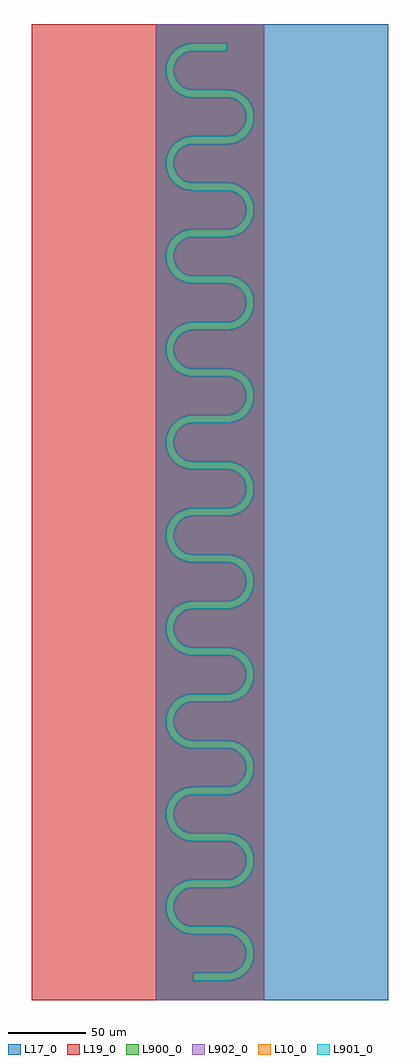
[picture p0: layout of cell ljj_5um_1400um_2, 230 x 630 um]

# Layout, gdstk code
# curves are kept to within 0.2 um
import gdstk
lib = gdstk.Library(unit=1e-6, precision=1e-09)
def R(c, l, rs):  # rectangles x0, y0, x1, y1
    for r in rs: c.add(gdstk.rectangle(r[:2], r[2:], *l))
def P(c, l, *ps):  # polygons
    for p in ps: c.add(gdstk.Polygon(p, *l))
L10_0 = (10, 0)
L17_0 = (17, 0)
L19_0 = (19, 0)
L900_0 = (900, 0)
L901_0 = (901, 0)
L902_0 = (902, 0)

ljj_5um_1400um_2 = lib.new_cell('ljj_5um_1400um_2')
P(ljj_5um_1400um_2, L10_0, [(-10.893,-302.5),(-10.893,-297.5),(11.728,-297.471),(14.993,-296.807),(17.262,-295.754),(20.438,-293.069),(22.557,-289.491),(23.385,-285.417),(22.831,-281.296),(21.427,-278.275),(19.277,-275.73),(16.529,-273.844),(14.195,-272.946),(10.852,-272.5),(-12.062,-272.463),(-16.633,-271.533),(-20.798,-269.429),(-22.633,-267.98),(-24.983,-265.381),(-26.241,-263.411),(-27.609,-260.184),(-28.307,-256.752),(-28.307,-253.248),(-27.609,-249.816),(-26.768,-247.633),(-24.983,-244.619),(-22.633,-242.02),(-18.787,-239.38),(-15.517,-238.12),(-10.934,-237.5),(11.728,-237.471),(14.195,-237.054),(16.529,-236.156),(19.277,-234.27),(21.853,-231.007),(23.218,-227.078),(23.218,-222.922),(22.23,-219.739),(20.438,-216.931),(17.966,-214.695),(14.195,-212.946),(10.852,-212.5),(-12.062,-212.463),(-15.517,-211.88),(-19.812,-210.058),(-22.633,-207.98),(-24.258,-206.299),(-25.645,-204.417),(-27.225,-201.291),(-28.307,-196.752),(-28.307,-193.248),(-27.917,-190.944),(-26.241,-186.589),(-23.473,-182.833),(-20.798,-180.571),(-16.633,-178.467),(-12.062,-177.537),(11.728,-177.471),(14.195,-177.054),(16.529,-176.156),(19.277,-174.27),(21.853,-171.007),(23.218,-167.078),(23.329,-163.75),(22.557,-160.509),(20.955,-157.585),(17.966,-154.695),(14.993,-153.193),(10.852,-152.5),(-12.062,-152.463),(-15.517,-151.88),(-19.812,-150.058),(-23.473,-147.167),(-25.645,-144.417),(-26.768,-142.367),(-27.609,-140.184),(-28.307,-136.752),(-28.15,-132.088),(-26.768,-127.633),(-24.258,-123.701),(-20.798,-120.571),(-16.633,-118.467),(-12.062,-117.537),(11.728,-117.471),(14.993,-116.807),(17.262,-115.754),(19.877,-113.689),(21.853,-111.007),(23.218,-107.078),(23.329,-103.75),(22.557,-100.509),(20.955,-97.585),(17.966,-94.695),(14.993,-93.193),(10.852,-92.5),(-12.062,-92.463),(-15.517,-91.88),(-19.812,-90.058),(-23.473,-87.167),(-26.241,-83.411),(-27.225,-81.291),(-28.15,-77.912),(-28.307,-73.248),(-27.225,-68.709),(-25.645,-65.583),(-22.633,-62.02),(-19.812,-59.942),(-15.517,-58.12),(-12.062,-57.537),(10.852,-57.5),(14.993,-56.807),(17.966,-55.305),(20.955,-52.415),(22.831,-48.704),(23.385,-44.583),(22.831,-41.296),(20.955,-37.585),(17.966,-34.695),(14.993,-33.193),(10.852,-32.5),(-12.062,-32.463),(-15.517,-31.88),(-19.812,-30.058),(-23.473,-27.167),(-26.241,-23.411),(-27.225,-21.291),(-28.15,-17.912),(-28.307,-13.248),(-27.225,-8.709),(-25.645,-5.583),(-22.633,-2.02),(-19.812,0.058),(-15.517,1.88),(-12.062,2.463),(10.852,2.5),(14.993,3.193),(17.966,4.695),(20.955,7.585),(22.831,11.296),(23.385,15.417),(22.831,18.704),(20.955,22.415),(17.966,25.305),(14.993,26.807),(10.852,27.5),(-12.062,27.537),(-15.517,28.12),(-19.812,29.942),(-23.473,32.833),(-26.241,36.589),(-27.225,38.709),(-28.15,42.088),(-28.307,46.752),(-27.225,51.291),(-25.645,54.417),(-22.633,57.98),(-19.812,60.058),(-15.517,61.88),(-12.062,62.463),(10.852,62.5),(14.993,63.193),(17.966,64.695),(20.955,67.585),(22.831,71.296),(23.385,75.417),(22.831,78.704),(20.955,82.415),(17.966,85.305),(14.993,86.807),(10.852,87.5),(-12.062,87.537),(-15.517,88.12),(-19.812,89.942),(-23.473,92.833),(-26.241,96.589),(-27.225,98.709),(-28.15,102.088),(-28.307,106.752),(-27.225,111.291),(-25.645,114.417),(-22.633,117.98),(-19.812,120.058),(-15.517,121.88),(-12.062,122.463),(10.852,122.5),(14.993,123.193),(17.966,124.695),(20.955,127.585),(22.831,131.296),(23.385,135.417),(22.831,138.704),(20.955,142.415),(17.966,145.305),(14.993,146.807),(10.852,147.5),(-12.062,147.537),(-15.517,148.12),(-19.812,149.942),(-23.473,152.833),(-26.241,156.589),(-27.225,158.709),(-28.15,162.088),(-28.307,166.752),(-27.225,171.291),(-25.645,174.417),(-22.633,177.98),(-19.812,180.058),(-15.517,181.88),(-12.062,182.463),(10.852,182.5),(14.993,183.193),(17.966,184.695),(20.955,187.585),(22.831,191.296),(23.385,195.417),(22.831,198.704),(20.955,202.415),(17.966,205.305),(14.993,206.807),(10.852,207.5),(-12.062,207.537),(-15.517,208.12),(-19.812,209.942),(-23.473,212.833),(-26.241,216.589),(-27.917,220.944),(-28.385,225.585),(-27.609,230.184),(-26.241,233.411),(-23.473,237.167),(-19.812,240.058),(-15.517,241.88),(-12.062,242.463),(10.852,242.5),(14.993,243.193),(17.966,244.695),(20.955,247.585),(22.831,251.296),(23.385,255.417),(22.831,258.704),(20.955,262.415),(17.966,265.305),(14.993,266.807),(10.852,267.5),(-12.062,267.537),(-15.517,268.12),(-19.812,269.942),(-23.473,272.833),(-26.241,276.589),(-27.917,280.944),(-28.385,285.585),(-27.609,290.184),(-25.645,294.417),(-22.633,297.98),(-20.798,299.429),(-17.725,301.113),(-15.517,301.88),(-12.062,302.463),(10.893,302.5),(10.893,297.5),(-11.728,297.471),(-14.993,296.807),(-17.262,295.754),(-20.438,293.069),(-22.557,289.491),(-23.385,285.417),(-22.831,281.296),(-21.427,278.275),(-19.277,275.73),(-16.529,273.844),(-14.195,272.946),(-10.852,272.5),(12.062,272.463),(16.633,271.533),(20.798,269.429),(22.633,267.98),(24.983,265.381),(26.241,263.411),(27.609,260.184),(28.307,256.752),(28.307,253.248),(27.609,249.816),(26.768,247.633),(24.983,244.619),(22.633,242.02),(18.787,239.38),(15.517,238.12),(10.934,237.5),(-11.728,237.471),(-14.195,237.054),(-16.529,236.156),(-19.277,234.27),(-21.853,231.007),(-23.218,227.078),(-23.218,222.922),(-22.23,219.739),(-20.438,216.931),(-17.966,214.695),(-14.195,212.946),(-10.852,212.5),(12.062,212.463),(15.517,211.88),(19.812,210.058),(22.633,207.98),(24.258,206.299),(25.645,204.417),(27.225,201.291),(28.307,196.752),(28.307,193.248),(27.917,190.944),(26.241,186.589),(23.473,182.833),(20.798,180.571),(16.633,178.467),(12.062,177.537),(-11.728,177.471),(-14.195,177.054),(-16.529,176.156),(-19.277,174.27),(-21.853,171.007),(-23.218,167.078),(-23.329,163.75),(-22.557,160.509),(-20.955,157.585),(-17.966,154.695),(-14.993,153.193),(-10.852,152.5),(12.062,152.463),(15.517,151.88),(19.812,150.058),(23.473,147.167),(25.645,144.417),(26.768,142.367),(27.609,140.184),(28.307,136.752),(28.15,132.088),(26.768,127.633),(24.258,123.701),(20.798,120.571),(16.633,118.467),(12.062,117.537),(-11.728,117.471),(-14.993,116.807),(-17.262,115.754),(-19.877,113.689),(-21.853,111.007),(-23.218,107.078),(-23.329,103.75),(-22.557,100.509),(-20.955,97.585),(-17.966,94.695),(-14.993,93.193),(-10.852,92.5),(12.062,92.463),(15.517,91.88),(19.812,90.058),(23.473,87.167),(26.241,83.411),(27.225,81.291),(28.15,77.912),(28.307,73.248),(27.225,68.709),(25.645,65.583),(22.633,62.02),(19.812,59.942),(15.517,58.12),(12.062,57.537),(-10.852,57.5),(-14.993,56.807),(-17.966,55.305),(-20.955,52.415),(-22.831,48.704),(-23.385,44.583),(-22.831,41.296),(-20.955,37.585),(-17.966,34.695),(-14.993,33.193),(-10.852,32.5),(12.062,32.463),(15.517,31.88),(19.812,30.058),(23.473,27.167),(26.241,23.411),(27.225,21.291),(28.15,17.912),(28.307,13.248),(27.225,8.709),(25.645,5.583),(22.633,2.02),(19.812,-0.058),(15.517,-1.88),(12.062,-2.463),(-10.852,-2.5),(-14.993,-3.193),(-17.966,-4.695),(-20.955,-7.585),(-22.831,-11.296),(-23.385,-15.417),(-22.831,-18.704),(-20.955,-22.415),(-17.966,-25.305),(-14.993,-26.807),(-10.852,-27.5),(12.062,-27.537),(15.517,-28.12),(19.812,-29.942),(23.473,-32.833),(26.241,-36.589),(27.225,-38.709),(28.15,-42.088),(28.307,-46.752),(27.225,-51.291),(25.645,-54.417),(22.633,-57.98),(19.812,-60.058),(15.517,-61.88),(12.062,-62.463),(-10.852,-62.5),(-14.993,-63.193),(-17.966,-64.695),(-20.955,-67.585),(-22.831,-71.296),(-23.385,-75.417),(-22.831,-78.704),(-20.955,-82.415),(-17.966,-85.305),(-14.993,-86.807),(-10.852,-87.5),(12.062,-87.537),(15.517,-88.12),(19.812,-89.942),(23.473,-92.833),(26.241,-96.589),(27.225,-98.709),(28.15,-102.088),(28.307,-106.752),(27.225,-111.291),(25.645,-114.417),(22.633,-117.98),(19.812,-120.058),(15.517,-121.88),(12.062,-122.463),(-10.852,-122.5),(-14.993,-123.193),(-17.966,-124.695),(-20.955,-127.585),(-22.831,-131.296),(-23.385,-135.417),(-22.831,-138.704),(-20.955,-142.415),(-17.966,-145.305),(-14.993,-146.807),(-10.852,-147.5),(12.062,-147.537),(15.517,-148.12),(19.812,-149.942),(23.473,-152.833),(26.241,-156.589),(27.225,-158.709),(28.15,-162.088),(28.307,-166.752),(27.225,-171.291),(25.645,-174.417),(22.633,-177.98),(19.812,-180.058),(15.517,-181.88),(12.062,-182.463),(-10.852,-182.5),(-14.993,-183.193),(-17.966,-184.695),(-20.955,-187.585),(-22.831,-191.296),(-23.385,-195.417),(-22.831,-198.704),(-20.955,-202.415),(-17.966,-205.305),(-14.993,-206.807),(-10.852,-207.5),(12.062,-207.537),(15.517,-208.12),(19.812,-209.942),(23.473,-212.833),(26.241,-216.589),(27.917,-220.944),(28.385,-225.585),(27.609,-230.184),(26.241,-233.411),(23.473,-237.167),(19.812,-240.058),(15.517,-241.88),(12.062,-242.463),(-10.852,-242.5),(-14.993,-243.193),(-17.966,-244.695),(-20.955,-247.585),(-22.831,-251.296),(-23.385,-255.417),(-22.831,-258.704),(-20.955,-262.415),(-17.966,-265.305),(-14.993,-266.807),(-10.852,-267.5),(12.062,-267.537),(15.517,-268.12),(19.812,-269.942),(23.473,-272.833),(26.241,-276.589),(27.917,-280.944),(28.385,-285.585),(27.609,-290.184),(25.645,-294.417),(22.633,-297.98),(20.798,-299.429),(17.725,-301.113),(15.517,-301.88),(12.062,-302.463)])
R(ljj_5um_1400um_2, L17_0, [(-35,-315,115,315)])
R(ljj_5um_1400um_2, L19_0, [(-115,-315,35,315)])
R(ljj_5um_1400um_2, L900_0, [(-35,-315,35,315)])
P(ljj_5um_1400um_2, L901_0, [(-10.893,-302.5),(-10.893,-297.5),(11.728,-297.471),(14.993,-296.807),(17.262,-295.754),(20.438,-293.069),(22.557,-289.491),(23.385,-285.417),(22.831,-281.296),(21.427,-278.275),(19.277,-275.73),(16.529,-273.844),(14.195,-272.946),(10.852,-272.5),(-12.062,-272.463),(-16.633,-271.533),(-20.798,-269.429),(-22.633,-267.98),(-24.983,-265.381),(-26.241,-263.411),(-27.609,-260.184),(-28.307,-256.752),(-28.307,-253.248),(-27.609,-249.816),(-26.768,-247.633),(-24.983,-244.619),(-22.633,-242.02),(-18.787,-239.38),(-15.517,-238.12),(-10.934,-237.5),(11.728,-237.471),(14.195,-237.054),(16.529,-236.156),(19.277,-234.27),(21.853,-231.007),(23.218,-227.078),(23.218,-222.922),(22.23,-219.739),(20.438,-216.931),(17.966,-214.695),(14.195,-212.946),(10.852,-212.5),(-12.062,-212.463),(-15.517,-211.88),(-19.812,-210.058),(-22.633,-207.98),(-24.258,-206.299),(-25.645,-204.417),(-27.225,-201.291),(-28.307,-196.752),(-28.307,-193.248),(-27.917,-190.944),(-26.241,-186.589),(-23.473,-182.833),(-20.798,-180.571),(-16.633,-178.467),(-12.062,-177.537),(11.728,-177.471),(14.195,-177.054),(16.529,-176.156),(19.277,-174.27),(21.853,-171.007),(23.218,-167.078),(23.329,-163.75),(22.557,-160.509),(20.955,-157.585),(17.966,-154.695),(14.993,-153.193),(10.852,-152.5),(-12.062,-152.463),(-15.517,-151.88),(-19.812,-150.058),(-23.473,-147.167),(-25.645,-144.417),(-26.768,-142.367),(-27.609,-140.184),(-28.307,-136.752),(-28.15,-132.088),(-26.768,-127.633),(-24.258,-123.701),(-20.798,-120.571),(-16.633,-118.467),(-12.062,-117.537),(11.728,-117.471),(14.993,-116.807),(17.262,-115.754),(19.877,-113.689),(21.853,-111.007),(23.218,-107.078),(23.329,-103.75),(22.557,-100.509),(20.955,-97.585),(17.966,-94.695),(14.993,-93.193),(10.852,-92.5),(-12.062,-92.463),(-15.517,-91.88),(-19.812,-90.058),(-23.473,-87.167),(-26.241,-83.411),(-27.225,-81.291),(-28.15,-77.912),(-28.307,-73.248),(-27.225,-68.709),(-25.645,-65.583),(-22.633,-62.02),(-19.812,-59.942),(-15.517,-58.12),(-12.062,-57.537),(10.852,-57.5),(14.993,-56.807),(17.966,-55.305),(20.955,-52.415),(22.831,-48.704),(23.385,-44.583),(22.831,-41.296),(20.955,-37.585),(17.966,-34.695),(14.993,-33.193),(10.852,-32.5),(-12.062,-32.463),(-15.517,-31.88),(-19.812,-30.058),(-23.473,-27.167),(-26.241,-23.411),(-27.225,-21.291),(-28.15,-17.912),(-28.307,-13.248),(-27.225,-8.709),(-25.645,-5.583),(-22.633,-2.02),(-19.812,0.058),(-15.517,1.88),(-12.062,2.463),(10.852,2.5),(14.993,3.193),(17.966,4.695),(20.955,7.585),(22.831,11.296),(23.385,15.417),(22.831,18.704),(20.955,22.415),(17.966,25.305),(14.993,26.807),(10.852,27.5),(-12.062,27.537),(-15.517,28.12),(-19.812,29.942),(-23.473,32.833),(-26.241,36.589),(-27.225,38.709),(-28.15,42.088),(-28.307,46.752),(-27.225,51.291),(-25.645,54.417),(-22.633,57.98),(-19.812,60.058),(-15.517,61.88),(-12.062,62.463),(10.852,62.5),(14.993,63.193),(17.966,64.695),(20.955,67.585),(22.831,71.296),(23.385,75.417),(22.831,78.704),(20.955,82.415),(17.966,85.305),(14.993,86.807),(10.852,87.5),(-12.062,87.537),(-15.517,88.12),(-19.812,89.942),(-23.473,92.833),(-26.241,96.589),(-27.225,98.709),(-28.15,102.088),(-28.307,106.752),(-27.225,111.291),(-25.645,114.417),(-22.633,117.98),(-19.812,120.058),(-15.517,121.88),(-12.062,122.463),(10.852,122.5),(14.993,123.193),(17.966,124.695),(20.955,127.585),(22.831,131.296),(23.385,135.417),(22.831,138.704),(20.955,142.415),(17.966,145.305),(14.993,146.807),(10.852,147.5),(-12.062,147.537),(-15.517,148.12),(-19.812,149.942),(-23.473,152.833),(-26.241,156.589),(-27.225,158.709),(-28.15,162.088),(-28.307,166.752),(-27.225,171.291),(-25.645,174.417),(-22.633,177.98),(-19.812,180.058),(-15.517,181.88),(-12.062,182.463),(10.852,182.5),(14.993,183.193),(17.966,184.695),(20.955,187.585),(22.831,191.296),(23.385,195.417),(22.831,198.704),(20.955,202.415),(17.966,205.305),(14.993,206.807),(10.852,207.5),(-12.062,207.537),(-15.517,208.12),(-19.812,209.942),(-23.473,212.833),(-26.241,216.589),(-27.917,220.944),(-28.385,225.585),(-27.609,230.184),(-26.241,233.411),(-23.473,237.167),(-19.812,240.058),(-15.517,241.88),(-12.062,242.463),(10.852,242.5),(14.993,243.193),(17.966,244.695),(20.955,247.585),(22.831,251.296),(23.385,255.417),(22.831,258.704),(20.955,262.415),(17.966,265.305),(14.993,266.807),(10.852,267.5),(-12.062,267.537),(-15.517,268.12),(-19.812,269.942),(-23.473,272.833),(-26.241,276.589),(-27.917,280.944),(-28.385,285.585),(-27.609,290.184),(-25.645,294.417),(-22.633,297.98),(-20.798,299.429),(-17.725,301.113),(-15.517,301.88),(-12.062,302.463),(10.893,302.5),(10.893,297.5),(-11.728,297.471),(-14.993,296.807),(-17.262,295.754),(-20.438,293.069),(-22.557,289.491),(-23.385,285.417),(-22.831,281.296),(-21.427,278.275),(-19.277,275.73),(-16.529,273.844),(-14.195,272.946),(-10.852,272.5),(12.062,272.463),(16.633,271.533),(20.798,269.429),(22.633,267.98),(24.983,265.381),(26.241,263.411),(27.609,260.184),(28.307,256.752),(28.307,253.248),(27.609,249.816),(26.768,247.633),(24.983,244.619),(22.633,242.02),(18.787,239.38),(15.517,238.12),(10.934,237.5),(-11.728,237.471),(-14.195,237.054),(-16.529,236.156),(-19.277,234.27),(-21.853,231.007),(-23.218,227.078),(-23.218,222.922),(-22.23,219.739),(-20.438,216.931),(-17.966,214.695),(-14.195,212.946),(-10.852,212.5),(12.062,212.463),(15.517,211.88),(19.812,210.058),(22.633,207.98),(24.258,206.299),(25.645,204.417),(27.225,201.291),(28.307,196.752),(28.307,193.248),(27.917,190.944),(26.241,186.589),(23.473,182.833),(20.798,180.571),(16.633,178.467),(12.062,177.537),(-11.728,177.471),(-14.195,177.054),(-16.529,176.156),(-19.277,174.27),(-21.853,171.007),(-23.218,167.078),(-23.329,163.75),(-22.557,160.509),(-20.955,157.585),(-17.966,154.695),(-14.993,153.193),(-10.852,152.5),(12.062,152.463),(15.517,151.88),(19.812,150.058),(23.473,147.167),(25.645,144.417),(26.768,142.367),(27.609,140.184),(28.307,136.752),(28.15,132.088),(26.768,127.633),(24.258,123.701),(20.798,120.571),(16.633,118.467),(12.062,117.537),(-11.728,117.471),(-14.993,116.807),(-17.262,115.754),(-19.877,113.689),(-21.853,111.007),(-23.218,107.078),(-23.329,103.75),(-22.557,100.509),(-20.955,97.585),(-17.966,94.695),(-14.993,93.193),(-10.852,92.5),(12.062,92.463),(15.517,91.88),(19.812,90.058),(23.473,87.167),(26.241,83.411),(27.225,81.291),(28.15,77.912),(28.307,73.248),(27.225,68.709),(25.645,65.583),(22.633,62.02),(19.812,59.942),(15.517,58.12),(12.062,57.537),(-10.852,57.5),(-14.993,56.807),(-17.966,55.305),(-20.955,52.415),(-22.831,48.704),(-23.385,44.583),(-22.831,41.296),(-20.955,37.585),(-17.966,34.695),(-14.993,33.193),(-10.852,32.5),(12.062,32.463),(15.517,31.88),(19.812,30.058),(23.473,27.167),(26.241,23.411),(27.225,21.291),(28.15,17.912),(28.307,13.248),(27.225,8.709),(25.645,5.583),(22.633,2.02),(19.812,-0.058),(15.517,-1.88),(12.062,-2.463),(-10.852,-2.5),(-14.993,-3.193),(-17.966,-4.695),(-20.955,-7.585),(-22.831,-11.296),(-23.385,-15.417),(-22.831,-18.704),(-20.955,-22.415),(-17.966,-25.305),(-14.993,-26.807),(-10.852,-27.5),(12.062,-27.537),(15.517,-28.12),(19.812,-29.942),(23.473,-32.833),(26.241,-36.589),(27.225,-38.709),(28.15,-42.088),(28.307,-46.752),(27.225,-51.291),(25.645,-54.417),(22.633,-57.98),(19.812,-60.058),(15.517,-61.88),(12.062,-62.463),(-10.852,-62.5),(-14.993,-63.193),(-17.966,-64.695),(-20.955,-67.585),(-22.831,-71.296),(-23.385,-75.417),(-22.831,-78.704),(-20.955,-82.415),(-17.966,-85.305),(-14.993,-86.807),(-10.852,-87.5),(12.062,-87.537),(15.517,-88.12),(19.812,-89.942),(23.473,-92.833),(26.241,-96.589),(27.225,-98.709),(28.15,-102.088),(28.307,-106.752),(27.225,-111.291),(25.645,-114.417),(22.633,-117.98),(19.812,-120.058),(15.517,-121.88),(12.062,-122.463),(-10.852,-122.5),(-14.993,-123.193),(-17.966,-124.695),(-20.955,-127.585),(-22.831,-131.296),(-23.385,-135.417),(-22.831,-138.704),(-20.955,-142.415),(-17.966,-145.305),(-14.993,-146.807),(-10.852,-147.5),(12.062,-147.537),(15.517,-148.12),(19.812,-149.942),(23.473,-152.833),(26.241,-156.589),(27.225,-158.709),(28.15,-162.088),(28.307,-166.752),(27.225,-171.291),(25.645,-174.417),(22.633,-177.98),(19.812,-180.058),(15.517,-181.88),(12.062,-182.463),(-10.852,-182.5),(-14.993,-183.193),(-17.966,-184.695),(-20.955,-187.585),(-22.831,-191.296),(-23.385,-195.417),(-22.831,-198.704),(-20.955,-202.415),(-17.966,-205.305),(-14.993,-206.807),(-10.852,-207.5),(12.062,-207.537),(15.517,-208.12),(19.812,-209.942),(23.473,-212.833),(26.241,-216.589),(27.917,-220.944),(28.385,-225.585),(27.609,-230.184),(26.241,-233.411),(23.473,-237.167),(19.812,-240.058),(15.517,-241.88),(12.062,-242.463),(-10.852,-242.5),(-14.993,-243.193),(-17.966,-244.695),(-20.955,-247.585),(-22.831,-251.296),(-23.385,-255.417),(-22.831,-258.704),(-20.955,-262.415),(-17.966,-265.305),(-14.993,-266.807),(-10.852,-267.5),(12.062,-267.537),(15.517,-268.12),(19.812,-269.942),(23.473,-272.833),(26.241,-276.589),(27.917,-280.944),(28.385,-285.585),(27.609,-290.184),(25.645,-294.417),(22.633,-297.98),(20.798,-299.429),(17.725,-301.113),(15.517,-301.88),(12.062,-302.463)])
P(ljj_5um_1400um_2, L902_0, [(-35,-315),(-35,302.5),(-10.934,302.5),(-14.379,302.15),(-16.633,301.533),(-18.787,300.62),(-21.739,298.735),(-23.473,297.167),(-25.645,294.417),(-27.609,290.184),(-28.385,285.585),(-28.307,283.248),(-27.609,279.816),(-25.645,275.583),(-23.473,272.833),(-21.739,271.265),(-17.725,268.887),(-13.226,267.655),(10.852,267.5),(14.993,266.807),(17.966,265.305),(20.955,262.415),(22.831,258.704),(23.385,255.417),(22.831,251.296),(20.955,247.585),(17.966,244.695),(14.993,243.193),(10.852,242.5),(-12.062,242.463),(-15.517,241.88),(-19.812,240.058),(-22.633,237.98),(-25.645,234.417),(-27.225,231.291),(-28.307,226.752),(-28.15,222.088),(-27.225,218.709),(-26.241,216.589),(-23.473,212.833),(-19.812,209.942),(-15.517,208.12),(-12.062,207.537),(10.852,207.5),(14.993,206.807),(17.966,205.305),(20.955,202.415),(22.831,198.704),(23.385,195.417),(22.831,191.296),(20.955,187.585),(17.966,184.695),(14.993,183.193),(10.852,182.5),(-12.062,182.463),(-15.517,181.88),(-19.812,180.058),(-22.633,177.98),(-25.645,174.417),(-27.225,171.291),(-28.307,166.752),(-28.15,162.088),(-27.225,158.709),(-26.241,156.589),(-23.473,152.833),(-19.812,149.942),(-15.517,148.12),(-12.062,147.537),(10.852,147.5),(14.993,146.807),(17.966,145.305),(20.955,142.415),(22.831,138.704),(23.385,135.417),(22.831,131.296),(20.955,127.585),(17.966,124.695),(14.993,123.193),(10.852,122.5),(-12.062,122.463),(-15.517,121.88),(-19.812,120.058),(-22.633,117.98),(-25.645,114.417),(-27.225,111.291),(-28.307,106.752),(-28.15,102.088),(-27.225,98.709),(-26.241,96.589),(-23.473,92.833),(-19.812,89.942),(-15.517,88.12),(-12.062,87.537),(10.852,87.5),(14.993,86.807),(17.966,85.305),(20.955,82.415),(22.831,78.704),(23.385,75.417),(23.051,72.102),(21.853,68.993),(19.277,65.73),(16.529,63.844),(14.195,62.946),(11.728,62.529),(-12.062,62.463),(-16.633,61.533),(-20.798,59.429),(-24.258,56.299),(-26.768,52.367),(-28.15,47.912),(-28.307,43.248),(-27.609,39.816),(-26.768,37.633),(-25.645,35.583),(-23.473,32.833),(-19.812,29.942),(-15.517,28.12),(-12.062,27.537),(10.852,27.5),(14.993,26.807),(17.966,25.305),(20.955,22.415),(22.831,18.704),(23.385,15.417),(23.051,12.102),(21.853,8.993),(19.277,5.73),(16.529,3.844),(14.195,2.946),(11.728,2.529),(-12.062,2.463),(-16.633,1.533),(-20.798,-0.571),(-23.473,-2.833),(-26.241,-6.589),(-27.917,-10.944),(-28.307,-13.248),(-28.307,-16.752),(-27.225,-21.291),(-24.983,-25.381),(-22.633,-27.98),(-20.798,-29.429),(-17.725,-31.113),(-13.226,-32.345),(10.852,-32.5),(14.993,-33.193),(17.966,-34.695),(20.955,-37.585),(22.831,-41.296),(23.385,-44.583),(22.831,-48.704),(21.427,-51.725),(19.277,-54.27),(15.773,-56.507),(11.728,-57.471),(-10.934,-57.5),(-15.517,-58.12),(-18.787,-59.38),(-21.739,-61.265),(-24.258,-63.701),(-26.241,-66.589),(-27.225,-68.709),(-28.15,-72.088),(-28.385,-74.415),(-28.15,-77.912),(-27.225,-81.291),(-26.241,-83.411),(-24.258,-86.299),(-21.739,-88.735),(-17.725,-91.113),(-13.226,-92.345),(10.852,-92.5),(14.993,-93.193),(17.966,-94.695),(20.955,-97.585),(22.831,-101.296),(23.385,-105.417),(22.831,-108.704),(20.955,-112.415),(17.966,-115.305),(14.993,-116.807),(10.852,-117.5),(-13.226,-117.655),(-17.725,-118.887),(-20.798,-120.571),(-22.633,-122.02),(-24.983,-124.619),(-27.225,-128.709),(-28.15,-132.088),(-28.385,-134.415),(-28.307,-136.752),(-27.609,-140.184),(-25.645,-144.417),(-22.633,-147.98),(-18.787,-150.62),(-15.517,-151.88),(-10.934,-152.5),(11.728,-152.529),(14.195,-152.946),(16.529,-153.844),(19.277,-155.73),(21.853,-158.993),(23.051,-162.102),(23.385,-165.417),(22.831,-168.704),(20.955,-172.415),(17.966,-175.305),(14.993,-176.807),(10.852,-177.5),(-12.062,-177.537),(-15.517,-178.12),(-19.812,-179.942),(-23.473,-182.833),(-25.645,-185.583),(-26.768,-187.633),(-27.609,-189.816),(-28.307,-193.248),(-28.15,-197.912),(-26.768,-202.367),(-24.258,-206.299),(-20.798,-209.429),(-16.633,-211.533),(-12.062,-212.463),(11.728,-212.529),(14.195,-212.946),(16.529,-213.844),(19.277,-215.73),(21.853,-218.993),(23.051,-222.102),(23.385,-225.417),(22.831,-228.704),(20.955,-232.415),(17.966,-235.305),(14.993,-236.807),(10.852,-237.5),(-12.062,-237.537),(-15.517,-238.12),(-19.812,-239.942),(-23.473,-242.833),(-26.241,-246.589),(-27.225,-248.709),(-28.15,-252.088),(-28.307,-256.752),(-27.225,-261.291),(-25.645,-264.417),(-22.633,-267.98),(-18.787,-270.62),(-15.517,-271.88),(-12.062,-272.463),(10.852,-272.5),(14.195,-272.946),(16.529,-273.844),(19.277,-275.73),(20.955,-277.585),(22.557,-280.509),(23.385,-284.583),(22.831,-288.704),(20.955,-292.415),(17.966,-295.305),(14.993,-296.807),(11.728,-297.471),(-10.893,-297.5),(-10.893,-302.5),(12.062,-302.463),(15.517,-301.88),(17.725,-301.113),(20.798,-299.429),(22.633,-297.98),(25.645,-294.417),(27.609,-290.184),(28.385,-285.585),(27.917,-280.944),(26.241,-276.589),(23.473,-272.833),(19.812,-269.942),(15.517,-268.12),(12.062,-267.537),(-10.852,-267.5),(-14.993,-266.807),(-17.966,-265.305),(-20.955,-262.415),(-22.831,-258.704),(-23.385,-255.417),(-22.831,-251.296),(-20.955,-247.585),(-17.966,-244.695),(-14.993,-243.193),(-10.852,-242.5),(12.062,-242.463),(15.517,-241.88),(19.812,-240.058),(22.633,-237.98),(25.645,-234.417),(27.225,-231.291),(28.307,-226.752),(28.15,-222.088),(27.225,-218.709),(26.241,-216.589),(23.473,-212.833),(19.812,-209.942),(15.517,-208.12),(12.062,-207.537),(-10.852,-207.5),(-14.993,-206.807),(-17.966,-205.305),(-20.955,-202.415),(-22.831,-198.704),(-23.385,-195.417),(-22.831,-191.296),(-20.955,-187.585),(-17.966,-184.695),(-14.993,-183.193),(-10.852,-182.5),(12.062,-182.463),(15.517,-181.88),(19.812,-180.058),(22.633,-177.98),(25.645,-174.417),(27.225,-171.291),(28.307,-166.752),(28.15,-162.088),(27.225,-158.709),(26.241,-156.589),(23.473,-152.833),(19.812,-149.942),(15.517,-148.12),(12.062,-147.537),(-10.852,-147.5),(-14.993,-146.807),(-17.966,-145.305),(-20.955,-142.415),(-22.831,-138.704),(-23.385,-135.417),(-22.831,-131.296),(-20.955,-127.585),(-17.966,-124.695),(-14.993,-123.193),(-10.852,-122.5),(12.062,-122.463),(15.517,-121.88),(19.812,-120.058),(22.633,-117.98),(25.645,-114.417),(27.225,-111.291),(28.307,-106.752),(28.15,-102.088),(27.225,-98.709),(26.241,-96.589),(23.473,-92.833),(19.812,-89.942),(15.517,-88.12),(12.062,-87.537),(-10.852,-87.5),(-14.993,-86.807),(-17.966,-85.305),(-20.955,-82.415),(-22.831,-78.704),(-23.385,-75.417),(-23.051,-72.102),(-21.853,-68.993),(-19.277,-65.73),(-16.529,-63.844),(-14.195,-62.946),(-11.728,-62.529),(12.062,-62.463),(16.633,-61.533),(20.798,-59.429),(24.258,-56.299),(26.768,-52.367),(28.15,-47.912),(28.307,-43.248),(27.609,-39.816),(26.768,-37.633),(25.645,-35.583),(23.473,-32.833),(19.812,-29.942),(15.517,-28.12),(12.062,-27.537),(-10.852,-27.5),(-14.993,-26.807),(-17.966,-25.305),(-20.955,-22.415),(-22.831,-18.704),(-23.385,-15.417),(-23.051,-12.102),(-21.853,-8.993),(-19.277,-5.73),(-16.529,-3.844),(-14.195,-2.946),(-11.728,-2.529),(12.062,-2.463),(16.633,-1.533),(20.798,0.571),(23.473,2.833),(26.241,6.589),(27.917,10.944),(28.307,13.248),(28.307,16.752),(27.225,21.291),(24.983,25.381),(22.633,27.98),(20.798,29.429),(17.725,31.113),(13.226,32.345),(-10.852,32.5),(-14.993,33.193),(-17.966,34.695),(-20.955,37.585),(-22.831,41.296),(-23.385,44.583),(-22.831,48.704),(-21.427,51.725),(-19.277,54.27),(-15.773,56.507),(-11.728,57.471),(10.934,57.5),(15.517,58.12),(18.787,59.38),(21.739,61.265),(24.258,63.701),(26.241,66.589),(27.225,68.709),(28.15,72.088),(28.385,74.415),(28.15,77.912),(27.225,81.291),(26.241,83.411),(24.258,86.299),(21.739,88.735),(17.725,91.113),(13.226,92.345),(-10.852,92.5),(-14.993,93.193),(-17.966,94.695),(-20.955,97.585),(-22.831,101.296),(-23.385,105.417),(-22.831,108.704),(-20.955,112.415),(-17.966,115.305),(-14.993,116.807),(-10.852,117.5),(13.226,117.655),(17.725,118.887),(20.798,120.571),(22.633,122.02),(24.983,124.619),(27.225,128.709),(28.15,132.088),(28.385,134.415),(28.307,136.752),(27.609,140.184),(25.645,144.417),(22.633,147.98),(18.787,150.62),(15.517,151.88),(10.934,152.5),(-11.728,152.529),(-14.195,152.946),(-16.529,153.844),(-19.277,155.73),(-21.853,158.993),(-23.051,162.102),(-23.385,165.417),(-22.831,168.704),(-20.955,172.415),(-17.966,175.305),(-14.993,176.807),(-10.852,177.5),(12.062,177.537),(15.517,178.12),(19.812,179.942),(23.473,182.833),(25.645,185.583),(26.768,187.633),(27.609,189.816),(28.307,193.248),(28.15,197.912),(26.768,202.367),(24.258,206.299),(20.798,209.429),(16.633,211.533),(12.062,212.463),(-11.728,212.529),(-14.195,212.946),(-16.529,213.844),(-19.277,215.73),(-21.853,218.993),(-23.051,222.102),(-23.385,225.417),(-22.831,228.704),(-20.955,232.415),(-17.966,235.305),(-14.993,236.807),(-10.852,237.5),(12.062,237.537),(15.517,238.12),(19.812,239.942),(23.473,242.833),(26.241,246.589),(27.225,248.709),(28.15,252.088),(28.307,256.752),(27.225,261.291),(25.645,264.417),(22.633,267.98),(18.787,270.62),(15.517,271.88),(12.062,272.463),(-10.852,272.5),(-14.195,272.946),(-16.529,273.844),(-19.277,275.73),(-20.955,277.585),(-22.557,280.509),(-23.385,284.583),(-22.831,288.704),(-20.955,292.415),(-17.966,295.305),(-14.993,296.807),(-11.728,297.471),(10.893,297.5),(10.893,302.5),(-35,302.5),(-35,315),(35,315),(35,-315)])

lib.write_gds('ljj_5um_1400um_2.gds')
